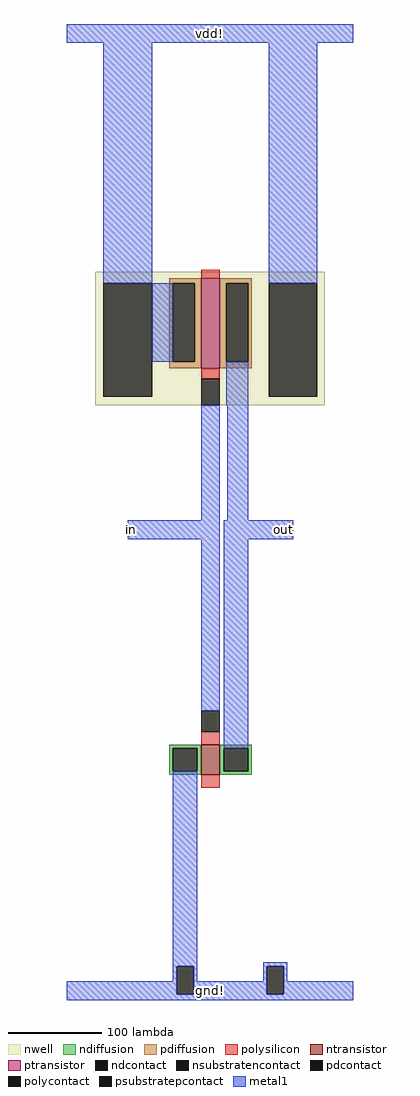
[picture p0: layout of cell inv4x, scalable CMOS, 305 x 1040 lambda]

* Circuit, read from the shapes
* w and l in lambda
.subckt inv4x gnd! in out vdd!
M1 out in gnd! gnd! nfet w=32 l=20
M2 out in vdd! vdd! pfet w=96 l=20
.ends

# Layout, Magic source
magic
tech scmos
<< nwell >>
rect -127 170 118 312
<< polysilicon >>
rect -14 305 6 314
rect -14 198 6 209
rect -14 -192 6 -178
rect -14 -238 6 -224
<< ndiffusion >>
rect -48 -196 -14 -192
rect -48 -220 -44 -196
rect -18 -220 -14 -196
rect -48 -224 -14 -220
rect 6 -196 40 -192
rect 6 -220 10 -196
rect 36 -220 40 -196
rect 6 -224 40 -220
<< pdiffusion >>
rect -48 300 -14 305
rect -48 216 -44 300
rect -21 216 -14 300
rect -48 209 -14 216
rect 6 300 40 305
rect 6 216 13 300
rect 36 216 40 300
rect 6 209 40 216
<< metal1 >>
rect -157 556 148 576
rect -118 300 -66 556
rect 58 300 110 556
rect -66 216 -44 300
rect 13 170 36 216
rect -14 47 6 170
rect 14 47 36 170
rect -92 27 6 47
rect -14 -156 6 27
rect 10 27 84 47
rect 10 -196 36 27
rect -44 -428 -18 -220
rect -44 -444 -40 -428
rect -157 -458 -40 -444
rect -22 -444 -18 -428
rect 52 -428 78 -424
rect 52 -444 56 -428
rect -22 -458 56 -444
rect 74 -444 78 -428
rect 74 -458 148 -444
rect -157 -464 148 -458
<< ntransistor >>
rect -14 -224 6 -192
<< ptransistor >>
rect -14 209 6 305
<< polycontact >>
rect -14 170 6 198
rect -14 -178 6 -156
<< ndcontact >>
rect -44 -220 -18 -196
rect 10 -220 36 -196
<< pdcontact >>
rect -44 216 -21 300
rect 13 216 36 300
<< psubstratepcontact >>
rect -40 -458 -22 -428
rect 56 -458 74 -428
<< nsubstratencontact >>
rect -118 179 -66 300
rect 58 179 110 300
<< labels >>
rlabel metal1 74 37 74 37 1 out
rlabel metal1 -88 37 -88 37 1 in
rlabel metal1 -5 566 -5 566 1 vdd!
rlabel metal1 -4 -454 -4 -454 1 gnd!
<< end >>
